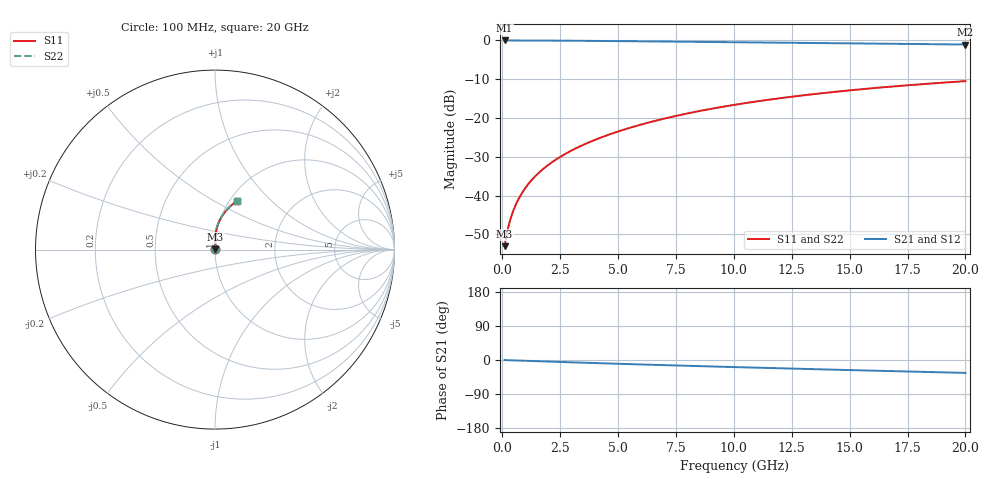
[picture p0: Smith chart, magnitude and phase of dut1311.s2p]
! Touchstone file exported from HFSS 2024.1.0
!  File:  C:/UserFiles/LocalFiles/RDL_TSV_Batchsim/temp_RDL_top_1311_1780364693.aedt
!  Generated:  09:47:05 AM Jun  2, 2026
!  Design:  RDL_top
!  Project:  temp_RDL_top_1311_1780364693
!  Setup:  Setup1
!  Solution:  Sweep
! Variables:
!  dtsv = 10.80580581um
!  hbump = 3um
!  htsv = 94.63um
!  ldown = 100um
!  lrdl = 473.65um
!  p = 40
!  p1 = 55.69um
!  rhole = 1um
!  t = 450um
!  tdown = 3.915915916um
!  trdl = 4.09um
!  wdown = 15.38538539um
!  wrdl = 27.08um
# GHz S MA R 50.000000
! Terminal data exported
! Port[1] = Box2_T1
! Port[2] = Box2_T2
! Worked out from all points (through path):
!   200 points, 100 MHz to 20 GHz, reference 50 ohm
!   highest |S21| = -0.02 dB at 100 MHz (marker M1); lowest = -1.1 dB at 20 GHz (marker M2)
!   group delay of S21, straight-line fit = 4.67 ps
!   lowest |S11| = -53.1 dB at 100 MHz (marker M3), VSWR 1.00, Z = 50.2 + j0.14 ohm
!   |S11| at or under -10 dB: start of sweep to end of sweep
!   |S22| runs from -53.1 to -10.5 dB; largest |S21 - S12| = 2.6e-15
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0.1  0.002225 38.8  0.9983 -0.2  0.9983 -0.2  0.002225 38.8
! Gamma 0 0 0 0
! Port Impedance 50 0 50 0
0.2  0.003274 55.6  0.9981 -0.4  0.9981 -0.4  0.003274 55.6
0.3  0.004393 63.6  0.9979 -0.6  0.9979 -0.6  0.004392 63.6
0.4  0.005522 68.6  0.9978 -0.9  0.9978 -0.9  0.005521 68.6
0.5  0.006663 72.1  0.9977 -1.1  0.9977 -1.1  0.006663 72.1
0.6  0.007819 74.7  0.9975 -1.3  0.9975 -1.3  0.007819 74.7
0.8  0.01017 78.4  0.9972 -1.7  0.9972 -1.7  0.01017 78.4
1.1  0.01377 81.8  0.9967 -2.3  0.9967 -2.3  0.01377 81.8
1.5  0.01869 84.4  0.9958 -3.1  0.9958 -3.1  0.01869 84.4
1.8  0.02245 85.7  0.9949 -3.7  0.9949 -3.7  0.02245 85.7
2.1  0.02628 86.7  0.9939 -4.4  0.9939 -4.4  0.02628 86.7
2.7  0.03415 88.0  0.9916 -5.6  0.9916 -5.6  0.03415 88.0
3.5  0.04508 88.9  0.9878 -7.1  0.9878 -7.1  0.04507 88.9
4.2  0.05506 89.1  0.9841 -8.5  0.9841 -8.5  0.05505 89.1
5  0.06692 89.0  0.9794 -10.0  0.9794 -10.0  0.06691 89.0
6.8  0.09502 87.5  0.968 -13.3  0.968 -13.3  0.095 87.5
8.4  0.121 85.4  0.9577 -16.0  0.9577 -16.0  0.121 85.4
10.1  0.1489 82.6  0.9467 -18.8  0.9467 -18.8  0.1489 82.6
11.7  0.175 79.9  0.9365 -21.4  0.9365 -21.4  0.175 79.8
13.4  0.2022 76.8  0.9259 -24.1  0.9259 -24.1  0.2021 76.8
16.7  0.2523 71.0  0.9053 -29.2  0.9053 -29.2  0.2523 71.0
20  0.2985 65.4  0.8847 -34.1  0.8847 -34.1  0.2984 65.4
